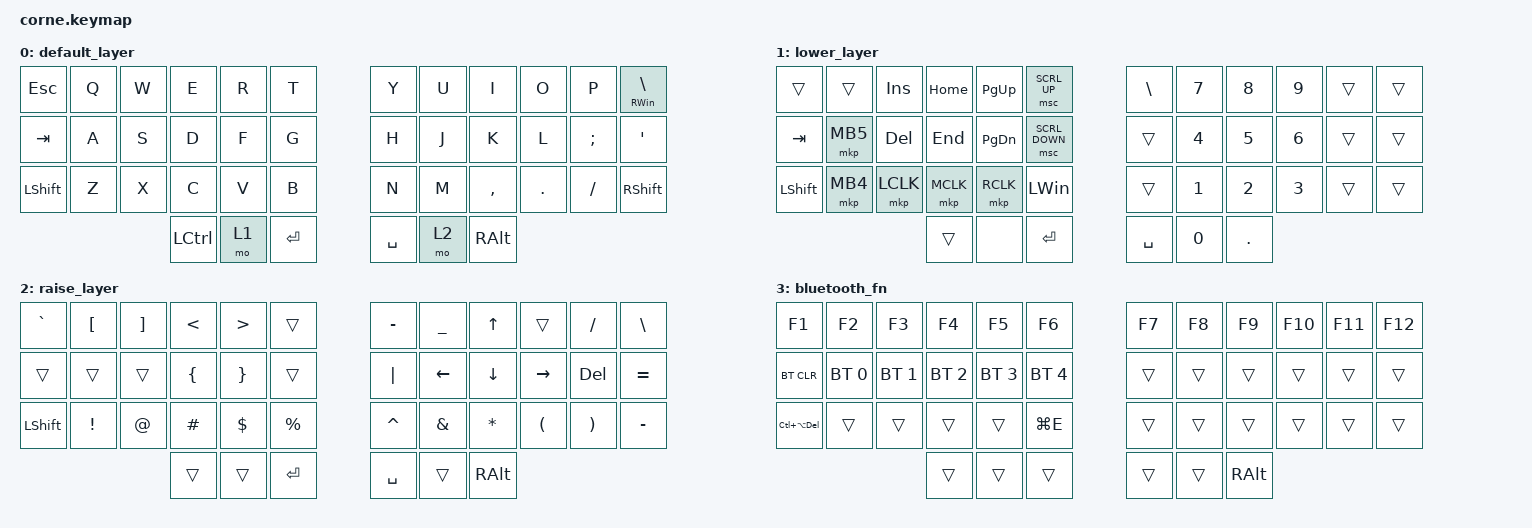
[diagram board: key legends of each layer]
/*
 * Copyright (c) 2020 The ZMK Contributors
 *
 * SPDX-License-Identifier: MIT
 */

#include <dt-bindings/zmk/mouse.h>
#include <behaviors.dtsi>
#include <dt-bindings/zmk/bt.h>
#include <dt-bindings/zmk/keys.h>
#include <dt-bindings/zmk/pointing.h>
#include <dt-bindings/zmk/pointing.h>

/ {
    combos {
        compatible = "zmk,combos";

        adjust {
            bindings = <&mo 3>;
            key-positions = <37 40>;
        };

        capslock {
            bindings = <&caps_word>;
            key-positions = <16 15>;
        };

        delete {
            bindings = <&kp BACKSPACE>;
            key-positions = <20 19>;
        };
    };

    macros {
        getwmi: getwmi {
            compatible = "zmk,behavior-macro";
            #binding-cells = <0>;
            bindings = <&none>;
            label = "GETWMI";
        };
    };

    keymap {
        compatible = "zmk,keymap";

        default_layer {
            // -----------------------------------------------------------------------------------------
            // |  TAB |  Q  |  W  |  E  |  R  |  T  |   |  Y  |  U   |  I  |  O  |  P  | BKSP |
            // | CTRL |  A  |  S  |  D  |  F  |  G  |   |  H  |  J   |  K  |  L  |  ;  |  '   |
            // | SHFT |  Z  |  X  |  C  |  V  |  B  |   |  N  |  M   |  ,  |  .  |  /  | ESC  |
            //                    | GUI | LWR | SPC |   | ENT | RSE  | ALT |

            bindings = <
&kp ESCAPE  &kp Q  &kp W  &kp E             &kp R  &kp T        &kp Y      &kp U  &kp I      &kp O    &kp P     &mt RIGHT_WIN BACKSLASH
&kp TAB     &kp A  &kp S  &kp D             &kp F  &kp G        &kp H      &kp J  &kp K      &kp L    &kp SEMI  &kp SQT
&kp LSHFT   &kp Z  &kp X  &kp C             &kp V  &kp B        &kp N      &kp M  &kp COMMA  &kp DOT  &kp FSLH  &kp RIGHT_SHIFT
                          &kp LEFT_CONTROL  &mo 1  &kp ENTER    &kp SPACE  &mo 2  &kp RALT
            >;
        };

        lower_layer {
            // -----------------------------------------------------------------------------------------
            // |  TAB |  1  |  2  |  3  |  4  |  5  |   |  6  |  7  |  8  |  9  |  0  | BKSP |
            // | BTCLR| BT1 | BT2 | BT3 | BT4 | BT5 |   | LFT | DWN |  UP | RGT |     |      |
            // | SHFT |     |     |     |     |     |   |     |     |     |     |     |      |
            //                    | GUI |     | SPC |   | ENT |     | ALT |

            bindings = <
&trans     &trans    &kp INS     &kp HOME   &kp PAGE_UP    &msc SCRL_UP      &kp BACKSLASH  &kp N7        &kp N8        &kp N9        &trans  &trans
&kp TAB    &mkp MB5  &kp DELETE  &kp END    &kp PAGE_DOWN  &msc SCRL_DOWN    &trans         &kp NUMBER_4  &kp NUMBER_5  &kp NUMBER_6  &trans  &trans
&kp LSHFT  &mkp MB4  &mkp LCLK   &mkp MCLK  &mkp RCLK      &kp LEFT_WIN      &trans         &kp NUMBER_1  &kp NUMBER_2  &kp NUMBER_3  &trans  &trans
                                 &trans     &none          &kp ENTER         &kp SPACE      &kp N0        &kp PERIOD
            >;
        };

        raise_layer {
            // -----------------------------------------------------------------------------------------
            // |  TAB |  !  |  @  |  #  |  $  |  %  |   |  ^  |  &  |  *  |  (  |  )  | BKSP |
            // | CTRL |     |     |     |     |     |   |  -  |  =  |  [  |  ]  |  \  |  `   |
            // | SHFT |     |     |     |     |     |   |  _  |  +  |  {  |  }  | "|" |  ~   |
            //                    | GUI |     | SPC |   | ENT |     | ALT |

            bindings = <
&kp GRAVE  &kp LEFT_BRACKET  &kp RIGHT_BRACKET  &kp LESS_THAN   &kp GREATER_THAN  &trans         &kp MINUS  &kp UNDERSCORE  &kp UP_ARROW    &trans                &kp SLASH              &kp BACKSLASH
&trans     &trans            &trans             &kp LEFT_BRACE  &kp RIGHT_BRACE   &trans         &kp PIPE   &kp LEFT_ARROW  &kp DOWN_ARROW  &kp RIGHT_ARROW       &kp DEL                &kp EQUAL
&kp LSHFT  &kp EXCLAMATION   &kp AT_SIGN        &kp HASH        &kp DOLLAR        &kp PERCENT    &kp CARET  &kp AMPERSAND   &kp STAR        &kp LEFT_PARENTHESIS  &kp RIGHT_PARENTHESIS  &kp MINUS
                                                &trans          &trans            &kp ENTER      &kp SPACE  &trans          &kp RALT
            >;
        };

        bluetooth_fn {
            bindings = <
&kp F1           &kp F2        &kp F3        &kp F4        &kp F5        &kp F6          &kp F7  &kp F8  &kp F9         &kp F10  &kp F11  &kp F12
&bt BT_CLR       &bt BT_SEL 0  &bt BT_SEL 1  &bt BT_SEL 2  &bt BT_SEL 3  &bt BT_SEL 4    &trans  &trans  &trans         &trans   &trans   &trans
&kp LC(LA(DEL))  &trans        &trans        &trans        &trans        &kp LG(E)       &trans  &trans  &trans         &trans   &trans   &trans
                                             &trans        &trans        &trans          &trans  &trans  &kp RIGHT_ALT
            >;
        };
    };
};
